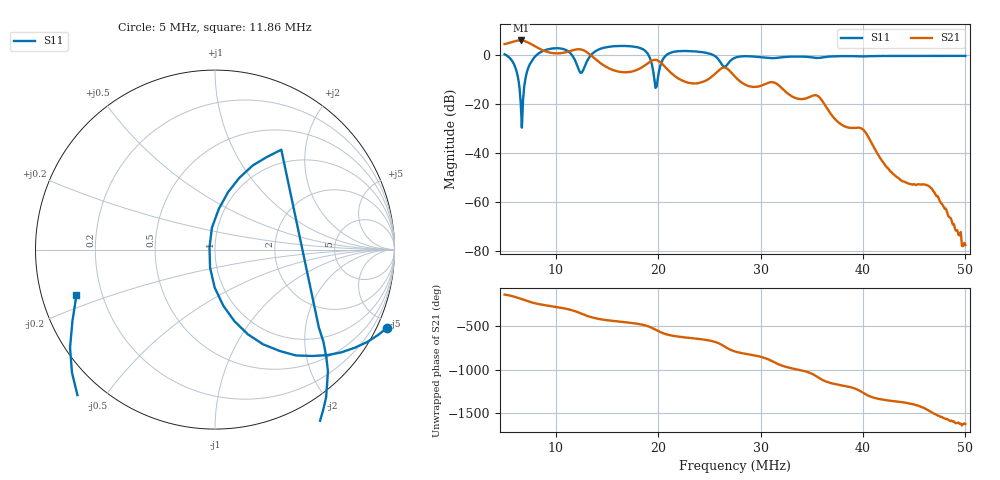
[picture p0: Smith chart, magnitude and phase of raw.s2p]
! S11/S21 only; reverse parameters are placeholders. Device calibration unverified.
! NanoVNA F V2 profile | COM3 | 2026-09-08T11:39:19.8554890-04:00 | device calibration unverified
# HZ S RI R 50
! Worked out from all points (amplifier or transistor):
!   401 points, 5 MHz to 50 MHz, reference 50 ohm
!   highest |S21| = 6.1 dB at 6.575 MHz (marker M1)
!   |S21| within 3 dB of that: start of sweep to 8.233 MHz
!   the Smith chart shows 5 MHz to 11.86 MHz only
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5000000  0.9596 -0.4353  -1.219 -1.197  0 0  0 0
6012500  0.2679 -0.5276  -1.87 -0.5723  0 0  0 0
6575000  -0.0275 -0.1008  -2.018 0.1683  0 0  0 0
7250000  0.2103 0.469  -1.574 0.9906  0 0  0 0
8150000  0.619 -0.8234  -0.7122 1.28  0 0  0 0
1.0175e7  -0.0993 -1.402  0.2171 1.081  0 0  0 0
1.16375e7  -0.8076 -0.5461  0.9527 0.8449  0 0  0 0
1.25375e7  -0.0553 0.4412  1.311 0.0686  0 0  0 0
1.3325e7  0.9187 0.2318  0.8941 -0.5431  0 0  0 0
1.43375e7  1.298 -0.422  0.3567 -0.604  0 0  0 0
1.81625e7  0.5342 -1.331  -0.237 -0.4779  0 0  0 0
1.94e7  -0.3821 -0.5068  -0.7362 -0.2705  0 0  0 0
2.0075e7  0.2797 0.3784  -0.7142 0.2673  0 0  0 0
2.15375e7  1.176 -0.1607  -0.1158 0.3733  0 0  0 0
2.51375e7  0.8155 -0.6884  0.2215 0.2767  0 0  0 0
2.6375e7  0.4808 -0.3481  0.5587 -0.0672  0 0  0 0
2.75e7  0.8627 -0.2459  0.1165 -0.3481  0 0  0 0
3.11e7  0.7325 -0.4858  -0.2841 0.0082  0 0  0 0
3.50375e7  0.6307 -0.6576  0.1279 0.0753  0 0  0 0
4.2575e7  0.4424 -0.8678  0.000607 0.00447  0 0  0 0
4.6625e7  0.288 -0.9344  0.00135 -0.00139  0 0  0 0
5e7  0.1602 -0.9641  -0.00013 1.9e-05  0 0  0 0
